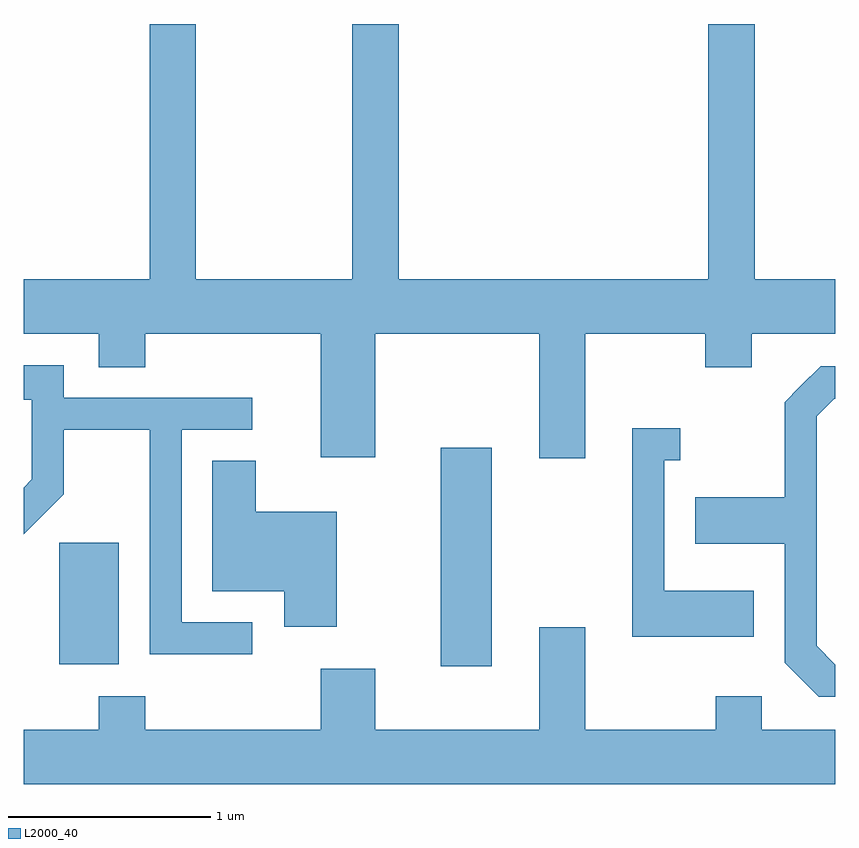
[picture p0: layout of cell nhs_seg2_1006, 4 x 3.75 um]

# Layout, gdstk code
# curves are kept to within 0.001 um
import gdstk
lib = gdstk.Library(unit=1e-6, precision=1e-09)
def R(c, l, rs):  # rectangles x0, y0, x1, y1
    for r in rs: c.add(gdstk.rectangle(r[:2], r[2:], *l))
def P(c, l, *ps):  # polygons
    for p in ps: c.add(gdstk.Polygon(p, *l))
L2000_40 = (2000, 40)

nhs_seg2_1006 = lib.new_cell('nhs_seg2_1006')
R(nhs_seg2_1006, L2000_40, [(215.666,1086.636,215.919,1087.714), (213.786,1086.646,214.079,1087.244)])
P(nhs_seg2_1006, L2000_40, [(216.379,1088.276),(216.971,1088.276),(216.971,1088.111),(217.199,1088.111),(217.199,1088.276),(217.611,1088.276),(217.611,1088.544),(217.214,1088.544),(217.214,1089.802),(216.986,1089.802),(216.986,1088.544),(215.459,1088.544),(215.459,1089.802),(215.231,1089.802),(215.231,1088.544),(214.459,1088.544),(214.459,1089.802),(214.231,1089.802),(214.231,1088.544),(213.611,1088.544),(213.611,1088.276),(213.981,1088.276),(213.981,1088.111),(214.209,1088.111),(214.209,1088.276),(215.076,1088.276),(215.076,1087.666),(215.344,1087.666),(215.344,1088.276),(216.151,1088.276),(216.151,1087.661),(216.379,1087.661)],
  [(214.738,1086.854),(214.389,1086.854),(214.389,1087.801),(214.738,1087.801),(214.738,1087.959),(213.809,1087.959),(213.809,1088.119),(213.611,1088.119),(213.611,1087.951),(213.651,1087.951),(213.651,1087.557),(213.611,1087.517),(213.611,1087.286),(213.809,1087.484),(213.809,1087.801),(214.231,1087.801),(214.231,1086.696),(214.738,1086.696)],
  [(217.611,1086.645),(217.519,1086.737),(217.519,1087.869),(217.607,1087.956),(217.611,1087.956),(217.611,1088.114),(217.539,1088.114),(217.361,1087.937),(217.361,1087.469),(216.921,1087.469),(216.921,1087.241),(217.361,1087.241),(217.361,1086.654),(217.529,1086.486),(217.611,1086.486)],
  [(217.209,1087.009),(216.769,1087.009),(216.769,1087.651),(216.848,1087.651),(216.848,1087.809),(216.611,1087.809),(216.611,1086.781),(217.209,1086.781)],
  [(215.154,1087.399),(214.754,1087.399),(214.754,1087.649),(214.541,1087.649),(214.541,1087.006),(214.896,1087.006),(214.896,1086.831),(215.154,1086.831)],
  [(217.611,1086.324),(217.249,1086.324),(217.249,1086.489),(217.021,1086.489),(217.021,1086.324),(216.379,1086.324),(216.379,1086.829),(216.151,1086.829),(216.151,1086.324),(215.344,1086.324),(215.344,1086.624),(215.076,1086.624),(215.076,1086.324),(214.209,1086.324),(214.209,1086.489),(213.981,1086.489),(213.981,1086.324),(213.611,1086.324),(213.611,1086.056),(217.611,1086.056)])

lib.write_gds('nhs_seg2_1006.gds')
